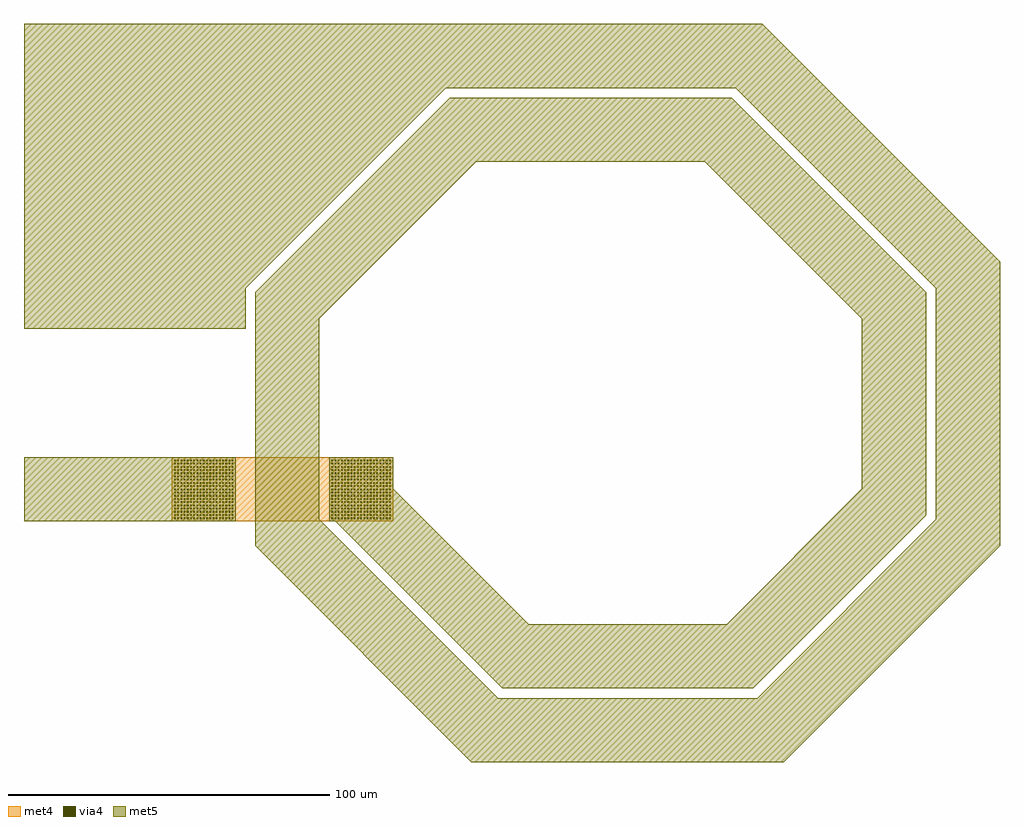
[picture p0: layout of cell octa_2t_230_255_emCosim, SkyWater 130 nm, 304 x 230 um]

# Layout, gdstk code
import gdstk
lib = gdstk.Library(unit=1e-6, precision=1e-09)
def R(c, l, rs):  # rectangles x0, y0, x1, y1
    for r in rs: c.add(gdstk.rectangle(r[:2], r[2:], *l))
def A(c, l, x, y, w, h, nx, ny, dx, dy):  # array of equal rectangles
    R(c, l, [(x+i*dx, y+j*dy, x+i*dx+w, y+j*dy+h) for i in range(nx) for j in range(ny)])
def P(c, l, *ps):  # polygons
    for p in ps: c.add(gdstk.Polygon(p, *l))
met4 = (71, 20)
via4 = (71, 44)
met5 = (72, 20)

octa_2t_230_255_emcosim = lib.new_cell('octa_2t_230_255_emCosim')
R(octa_2t_230_255_emcosim, met4, [(-242,-140,-173,-120), (-242,-140,-222,-120), (-193,-140,-173,-120)])
A(octa_2t_230_255_emcosim, via4, -241.25, -139.25, 0.5, 0.5, 19, 19, 1, 1)
A(octa_2t_230_255_emcosim, via4, -192.25, -139.25, 0.5, 0.5, 19, 19, 1, 1)
R(octa_2t_230_255_emcosim, met5, [(-288,-140,-222,-120), (-242,-140,-222,-120), (-193,-140,-173,-120), (-288,-80,-259,15), (-259,-80,-219,-60)])
P(octa_2t_230_255_emcosim, met5, [(-259,-80),(-259,15),(-165,15)],
  [(-173,-120),(-173,-129.825),(-130.825,-172),(-69.175,-172),(-27,-129.825),(-27,-76.915),(-75.915,-28),(-147.085,-28),(-196,-76.915),(-196,-139.35),(-140.35,-195),(-59.65,-195),(-4,-139.35),(-4,-67.385),(-66.385,-5),(-156.615,-5),(-219,-67.385),(-219,-80),(-239,-80),(-239,-59.1),(-164.9,15),(-58.1,15),(16,-59.1),(16,-147.635),(-51.365,-215),(-148.635,-215),(-216,-147.635),(-216,-68.63),(-155.37,-8),(-67.63,-8),(-7,-68.63),(-7,-138.11),(-60.89,-192),(-139.11,-192),(-193,-138.11),(-193,-120)])

lib.write_gds('octa_2t_230_255_emCosim.gds')
